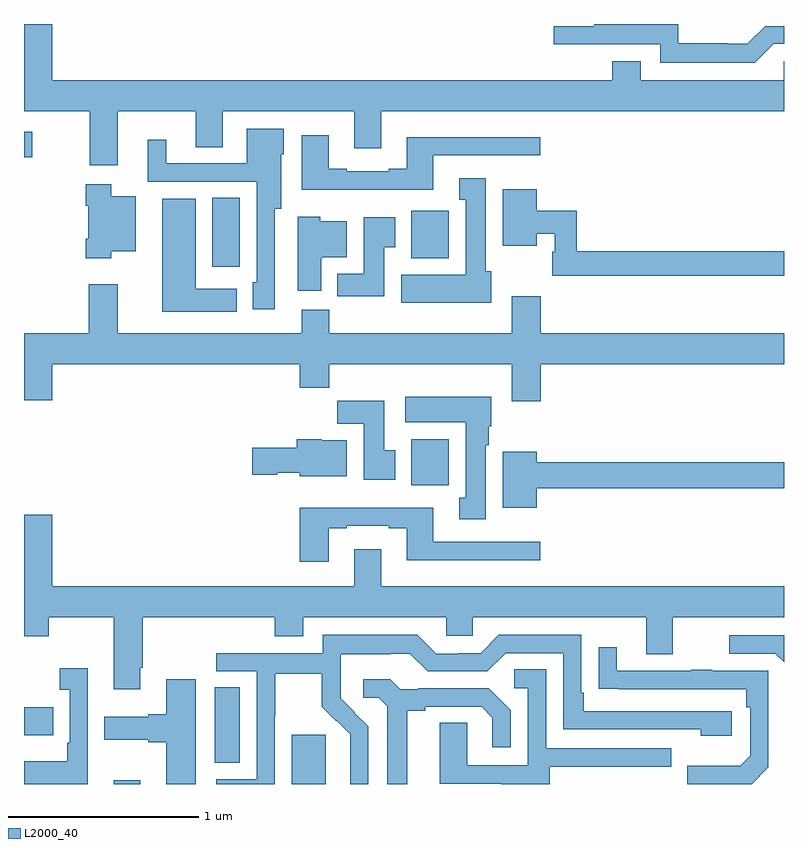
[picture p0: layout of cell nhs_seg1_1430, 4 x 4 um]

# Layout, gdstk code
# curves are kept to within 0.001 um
import gdstk
lib = gdstk.Library(unit=1e-6, precision=1e-09)
def R(c, l, rs):  # rectangles x0, y0, x1, y1
    for r in rs: c.add(gdstk.rectangle(r[:2], r[2:], *l))
def P(c, l, *ps):  # polygons
    for p in ps: c.add(gdstk.Polygon(p, *l))
L2000_40 = (2000, 40)

nhs_seg1_1430 = lib.new_cell('nhs_seg1_1430')
R(nhs_seg1_1430, L2000_40, [(189.473,540.199,189.613,540.22), (190.409,540.199,190.588,540.459), (190.004,540.31,190.135,540.707), (189,540.455,189.155,540.603), (191.039,541.772,191.236,542.014), (189.992,542.922,190.135,543.284), (191.039,542.966,191.235,543.217), (189,543.497,189.043,543.631)])
P(nhs_seg1_1430, L2000_40, [(192.945,544.095),(193,544.095),(193,544.188),(192.9,544.188),(192.807,544.095),(192.707,544.095),(192.707,544.099),(192.444,544.099),(192.444,544.199),(192,544.199),(192,544.188),(191.787,544.188),(191.787,544.092),(192.348,544.092),(192.348,543.995),(192.845,543.995)],
  [(189.148,544.199),(189,544.199),(189,543.74),(189.346,543.74),(189.346,543.456),(189.493,543.456),(189.493,543.74),(189.905,543.74),(189.905,543.55),(190.045,543.55),(190.045,543.74),(190.739,543.74),(190.739,543.546),(190.879,543.546),(190.879,543.74),(193,543.74),(193,544.002),(192.999,544.002),(192.999,543.904),(192.247,543.904),(192.247,544.003),(192.095,544.003),(192.095,543.904),(189.148,543.904)],
  [(190.32,543.227),(190.354,543.227),(190.354,543.513),(190.366,543.513),(190.366,543.649),(190.172,543.649),(190.172,543.465),(189.748,543.465),(189.748,543.589),(189.65,543.589),(189.65,543.369),(190.224,543.369),(190.224,542.841),(190.205,542.841),(190.205,542.697),(190.32,542.697)],
  [(191.155,543.507),(191.716,543.507),(191.716,543.604),(191.015,543.604),(191.015,543.436),(190.919,543.436),(190.919,543.423),(190.699,543.423),(190.699,543.436),(190.603,543.436),(190.603,543.613),(190.463,543.613),(190.463,543.326),(191.155,543.326)],
  [(191.458,542.898),(191.431,542.898),(191.431,543.388),(191.291,543.388),(191.291,543.275),(191.324,543.275),(191.324,542.878),(190.985,542.878),(190.985,542.732),(191.458,542.732)],
  [(189.46,543.002),(189.589,543.002),(189.589,543.292),(189.46,543.292),(189.46,543.355),(189.326,543.355),(189.326,543.242),(189.338,543.242),(189.338,543.07),(189.326,543.07),(189.326,542.966),(189.46,542.966)],
  [(193,543.002),(191.909,543.002),(191.909,543.217),(191.698,543.217),(191.698,543.328),(191.519,543.328),(191.519,543.032),(191.698,543.032),(191.698,543.096),(191.793,543.096),(191.793,543),(191.781,543),(191.781,542.874),(193,542.874)],
  [(190.12,542.806),(189.904,542.806),(189.904,543.28),(189.728,543.28),(189.728,542.684),(190.12,542.684)],
  [(190.564,542.966),(190.57,542.966),(190.57,542.972),(190.699,542.972),(190.699,543.16),(190.56,543.16),(190.56,543.184),(190.442,543.184),(190.442,542.796),(190.564,542.796)],
  [(190.897,543.025),(190.954,543.025),(190.954,543.181),(190.787,543.181),(190.787,542.884),(190.649,542.884),(190.649,542.766),(190.897,542.766)],
  [(191.72,542.408),(193,542.408),(193,542.572),(191.72,542.572),(191.72,542.767),(191.567,542.767),(191.567,542.572),(190.607,542.572),(190.607,542.696),(190.463,542.696),(190.463,542.572),(189.493,542.572),(189.493,542.83),(189.341,542.83),(189.341,542.572),(189,542.572),(189,542.22),(189.148,542.22),(189.148,542.408),(190.451,542.408),(190.451,542.284),(190.607,542.284),(190.607,542.408),(191.567,542.408),(191.567,542.214),(191.72,542.214)],
  [(191.431,541.982),(191.446,541.982),(191.446,542.082),(191.458,542.082),(191.458,542.236),(191.007,542.236),(191.007,542.102),(191.324,542.102),(191.324,541.706),(191.291,541.706),(191.291,541.593),(191.431,541.593)],
  [(190.954,541.956),(190.897,541.956),(190.897,542.215),(190.648,542.215),(190.648,542.096),(190.787,542.096),(190.787,541.8),(190.954,541.8)],
  [(190.699,542.008),(190.566,542.008),(190.566,542.014),(190.436,542.014),(190.436,541.968),(190.2,541.968),(190.2,541.826),(190.332,541.826),(190.332,541.838),(190.452,541.838),(190.452,541.82),(190.699,541.82)],
  [(191.698,541.756),(193,541.756),(193,541.892),(191.698,541.892),(191.698,541.948),(191.519,541.948),(191.519,541.652),(191.698,541.652)],
  [(190.603,541.545),(190.699,541.545),(190.699,541.557),(190.919,541.557),(190.919,541.545),(191.015,541.545),(191.015,541.376),(191.716,541.376),(191.716,541.473),(191.155,541.473),(191.155,541.654),(190.451,541.654),(190.451,541.368),(190.603,541.368)],
  [(189.613,540.811),(189.626,540.811),(189.626,541.076),(190.319,541.076),(190.319,540.977),(190.471,540.977),(190.471,541.076),(191.223,541.076),(191.223,540.978),(191.361,540.978),(191.361,541.076),(192.275,541.076),(192.275,540.882),(192.415,540.882),(192.415,541.076),(193,541.076),(193,541.24),(190.879,541.24),(190.879,541.435),(190.739,541.435),(190.739,541.24),(189.148,541.24),(189.148,541.615),(189,541.615),(189,540.977),(189.129,540.977),(189.129,541.076),(189.473,541.076),(189.473,540.699),(189.613,540.699)],
  [(190.32,540.556),(190.323,540.556),(190.323,540.78),(190.567,540.78),(190.567,540.605),(190.644,540.528),(190.647,540.531),(190.718,540.461),(190.718,540.338),(190.716,540.338),(190.716,540.199),(190.812,540.199),(190.812,540.502),(190.666,540.65),(190.666,540.747),(190.668,540.747),(190.668,540.881),(190.931,540.881),(190.931,540.885),(191.031,540.885),(191.124,540.792),(191.439,540.792),(191.535,540.888),(191.838,540.888),(191.838,540.486),(192.563,540.486),(192.563,540.452),(192.724,540.452),(192.724,540.582),(191.947,540.582),(191.947,540.679),(191.934,540.679),(191.934,540.984),(191.499,540.984),(191.403,540.888),(191.285,540.888),(191.285,540.885),(191.169,540.885),(191.069,540.985),(190.572,540.985),(190.572,540.888),(190.011,540.888),(190.011,540.792),(190.224,540.792),(190.224,540.225),(190.011,540.225),(190.011,540.199),(190.32,540.199)],
  [(193,540.981),(192.711,540.981),(192.711,540.885),(192.954,540.885),(193,540.839)],
  [(192.918,540.288),(192.918,540.795),(192.623,540.795),(192.623,540.8),(192.511,540.8),(192.511,540.795),(192.121,540.795),(192.121,540.919),(192.025,540.919),(192.025,540.7),(192.802,540.699),(192.802,540.602),(192.822,540.602),(192.822,540.348),(192.769,540.295),(192.492,540.295),(192.492,540.199),(192.829,540.199)],
  [(189.336,540.808),(189.189,540.808),(189.189,540.695),(189.24,540.695),(189.24,540.415),(189.228,540.415),(189.228,540.319),(189,540.319),(189,540.199),(189.336,540.199)],
  [(191.767,540.291),(192.407,540.291),(192.407,540.387),(191.748,540.387),(191.748,540.803),(191.58,540.803),(191.58,540.702),(191.652,540.702),(191.652,540.297),(191.334,540.297),(191.334,540.521),(191.189,540.521),(191.189,540.201),(191.513,540.201),(191.513,540.199),(191.767,540.199)],
  [(189.904,540.751),(189.749,540.751),(189.749,540.566),(189.653,540.566),(189.653,540.553),(189.423,540.553),(189.423,540.431),(189.653,540.431),(189.653,540.419),(189.749,540.419),(189.749,540.199),(189.904,540.199)],
  [(191.017,540.584),(191.113,540.584),(191.113,540.606),(191.408,540.606),(191.465,540.549),(191.465,540.393),(191.562,540.393),(191.562,540.586),(191.446,540.702),(191.074,540.702),(191.074,540.699),(190.98,540.699),(190.928,540.751),(190.785,540.751),(190.785,540.654),(190.866,540.654),(190.913,540.607),(190.913,540.199),(191.017,540.199)])

lib.write_gds('nhs_seg1_1430.gds')
